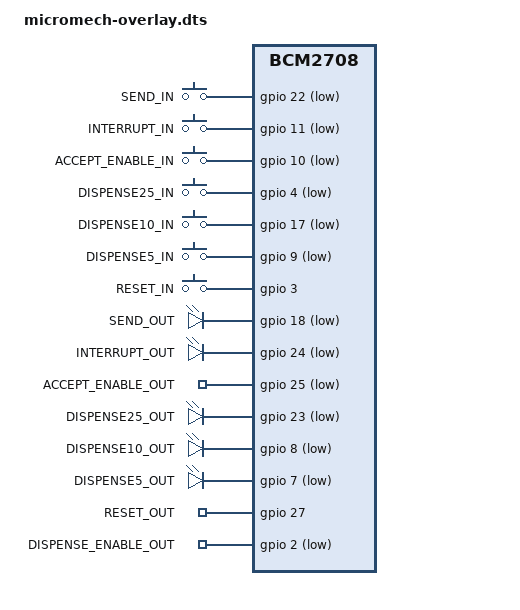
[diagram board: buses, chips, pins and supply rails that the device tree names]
/dts-v1/;
/plugin/;

/ {
	compatible = "brcm,bcm2708";

	fragment@0 {
		target = <&gpio>;
		__overlay__ {
			micromech_input_pins: micromech_input_pins {
				brcm,pins =
						<22>,	// SEND_IN
						<11>,	// INTERRUPT_IN
						<10>,	// ACCEPT_ENABLE_IN
						 <4>,	// DISPENSE25_IN
						<17>,	// DISPENSE10_IN
						 <9>,	// DISPENSE5_IN
						 <3>;	// RESET_IN
				brcm,function = <0>; // input
				brcm,pull = <2>; // up
			};
		};
	};

	fragment@1 {
		target-path = "/";
		__overlay__ {
			micromech_input {
				compatible = "gpio-keys";
				label = "MicroMech input";
				pinctrl-names = "default";
				pinctrl-0 = <&micromech_input_pins>;

				micromech_send_in: send_in {
					label = "SEND_IN";
					debounce-interval = <0>;
					linux,input-type = <5>; // EV_SW
					linux,code = <3>;
					gpios = <&gpio 22 1>;
				};

				micromech_interrupt_in: interrupt_in {
					label = "INTERRUPT_IN";
					debounce-interval = <0>;
					linux,input-type = <5>; // EV_SW
					linux,code = <4>;
					gpios = <&gpio 11 1>;
				};

				micromech_accept_enable_in: accept_enable_in {
					label = "ACCEPT_ENABLE_IN";
					debounce-interval = <0>;
					linux,input-type = <5>; // EV_SW
					linux,code = <6>;
					gpios = <&gpio 10 1>;
				};

				micromech_dispense25_in: dispense25_in {
					label = "DISPENSE25_IN";
					debounce-interval = <0>;
					linux,input-type = <5>; // EV_SW
					linux,code = <7>;
					gpios = <&gpio 4 1>;
				};

				micromech_dispense10_in: dispense10_in {
					label = "DISPENSE10_IN";
					debounce-interval = <0>;
					linux,input-type = <5>; // EV_SW
					linux,code = <8>;
					gpios = <&gpio 17 1>;
				};

				micromech_dispense5_in: dispense5_in {
					label = "DISPENSE5_IN";
					debounce-interval = <0>;
					linux,input-type = <5>; // EV_SW
					linux,code = <9>;
					gpios = <&gpio 9 1>;
				};

				micromech_reset_in: reset_in {
					label = "RESET_IN";
					debounce-interval = <0>;
					linux,input-type = <5>; // EV_SW
					linux,code = <11>;
					gpios = <&gpio 3 0>;
				};
			};

			micromech_output {
				compatible = "gpio-leds";

				micromech_send_out: micromech_send_out {
					label = "SEND_OUT";
					gpios = <&gpio 18 1>;
				};

				micromech_interrupt_out: micromech_interrupt_out {
					label = "INTERRUPT_OUT";
					gpios = <&gpio 24 1>;
				};

				micromech_accept_enable_out: micromech_accept_enable_out {
					label = "ACCEPT_ENABLE_OUT";
					gpios = <&gpio 25 1>;
				};

				micromech_dispense25_out: micromech_dispense25_out {
					label = "DISPENSE25_OUT";
					gpios = <&gpio 23 1>;
				};

				micromech_dispense10_out: micromech_dispense10_out {
					label = "DISPENSE10_OUT";
					gpios = <&gpio 8 1>;
				};

				micromech_dispense5_out: micromech_dispense5_out {
					label = "DISPENSE5_OUT";
					gpios = <&gpio 7 1>;
				};

				micromech_reset_out: micromech_reset_out {
					label = "RESET_OUT";
					gpios = <&gpio 27 0>;
					default-state = "on";
				};

				micromech_dispense_enable_out: micromech_dispense_enable_out {
					label = "DISPENSE_ENABLE_OUT";
					gpios = <&gpio 2 1>;
				};
			};
		};
	};

	__overrides__ {
		send_in_pin = <&micromech_input_pins>,"brcm,pins:0",
				<&micromech_send_in>,"gpios:4";
		interrupt_in_pin = <&micromech_input_pins>,"brcm,pins:4",
				<&micromech_interrupt_in>,"gpios:4";
		accept_enable_in_pin = <&micromech_input_pins>,"brcm,pins:8",
				<&micromech_accept_enable_in>,"gpios:4";
		dispense25_in_pin = <&micromech_input_pins>,"brcm,pins:12",
				<&micromech_dispense25_in>,"gpios:4";
		dispense10_in_pin = <&micromech_input_pins>,"brcm,pins:16",
				<&micromech_dispense10_in>,"gpios:4";
		dispense5_in_pin = <&micromech_input_pins>,"brcm,pins:20",
				<&micromech_dispense5_in>,"gpios:4";
		reset_in_pin = <&micromech_input_pins>,"brcm,pins:24",
				<&micromech_reset_in>,"gpios:4";

		send_out_pin = <&micromech_send_out>,"gpios:4";
		interrupt_out_pin = <&micromech_interrupt_out>,"gpios:4";
		accept_enable_out_pin = <&micromech_accept_enable_out>,"gpios:4";
		dispense25_out_pin = <&micromech_dispense25_out>,"gpios:4";
		dispense10_out_pin = <&micromech_dispense10_out>,"gpios:4";
		dispense5_out_pin = <&micromech_dispense5_out>,"gpios:4";
		reset_out_pin = <&micromech_reset_out>,"gpios:4";
		dispense_enable_out_pin = <&micromech_dispense_enable_out>,"gpios:4";
	};

};
